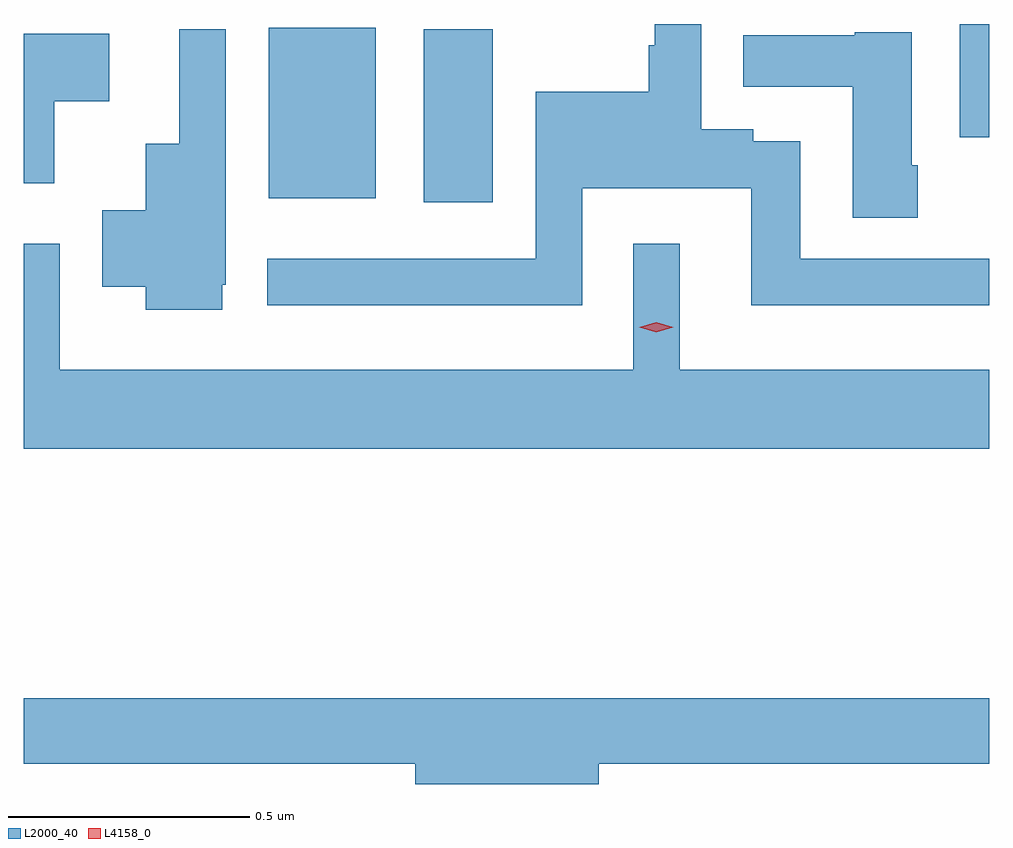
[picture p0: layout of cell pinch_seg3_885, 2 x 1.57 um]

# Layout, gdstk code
import gdstk
lib = gdstk.Library(unit=1e-6, precision=1e-09)
def R(c, l, rs):  # rectangles x0, y0, x1, y1
    for r in rs: c.add(gdstk.rectangle(r[:2], r[2:], *l))
def P(c, l, *ps):  # polygons
    for p in ps: c.add(gdstk.Polygon(p, *l))
L2000_40 = (2000, 40)
L4158_0 = (4158, 0)

pinch_seg3_885 = lib.new_cell('pinch_seg3_885')
R(pinch_seg3_885, L2000_40, [(702.602,701.427,702.745,701.785), (702.281,701.435,702.502,701.788), (703.712,701.561,703.773,701.796)])
P(pinch_seg3_885, L2000_40, [(702.93,701.456),(703.28,701.456),(703.28,701.213),(703.773,701.213),(703.773,701.31),(703.381,701.31),(703.381,701.553),(703.284,701.553),(703.284,701.578),(703.176,701.578),(703.176,701.796),(703.08,701.796),(703.08,701.752),(703.068,701.752),(703.068,701.656),(702.834,701.656),(702.834,701.31),(702.278,701.31),(702.278,701.213),(702.93,701.213)],
  [(702.184,701.256),(702.192,701.256),(702.192,701.785),(702.095,701.785),(702.095,701.548),(702.026,701.548),(702.026,701.41),(701.936,701.41),(701.936,701.252),(702.026,701.252),(702.026,701.204),(702.184,701.204)],
  [(703.625,701.503),(703.612,701.503),(703.612,701.779),(703.494,701.779),(703.494,701.773),(703.263,701.773),(703.263,701.666),(703.49,701.666),(703.49,701.395),(703.625,701.395)],
  [(701.836,701.636),(701.95,701.636),(701.95,701.776),(701.773,701.776),(701.773,701.466),(701.836,701.466)],
  [(703.773,701.08),(703.132,701.08),(703.132,701.341),(703.035,701.341),(703.035,701.08),(701.848,701.08),(701.848,701.341),(701.773,701.341),(701.773,700.916),(703.773,700.916)],
  [(702.964,700.264),(703.773,700.264),(703.773,700.4),(701.773,700.4),(701.773,700.264),(702.584,700.264),(702.584,700.222),(702.964,700.222)])
P(pinch_seg3_885, L4158_0, [(703.083,701.158),(703.048,701.168),(703.048,701.168),(703.048,701.168),(703.083,701.178),(703.118,701.168),(703.118,701.168),(703.118,701.168)])

lib.write_gds('pinch_seg3_885.gds')
